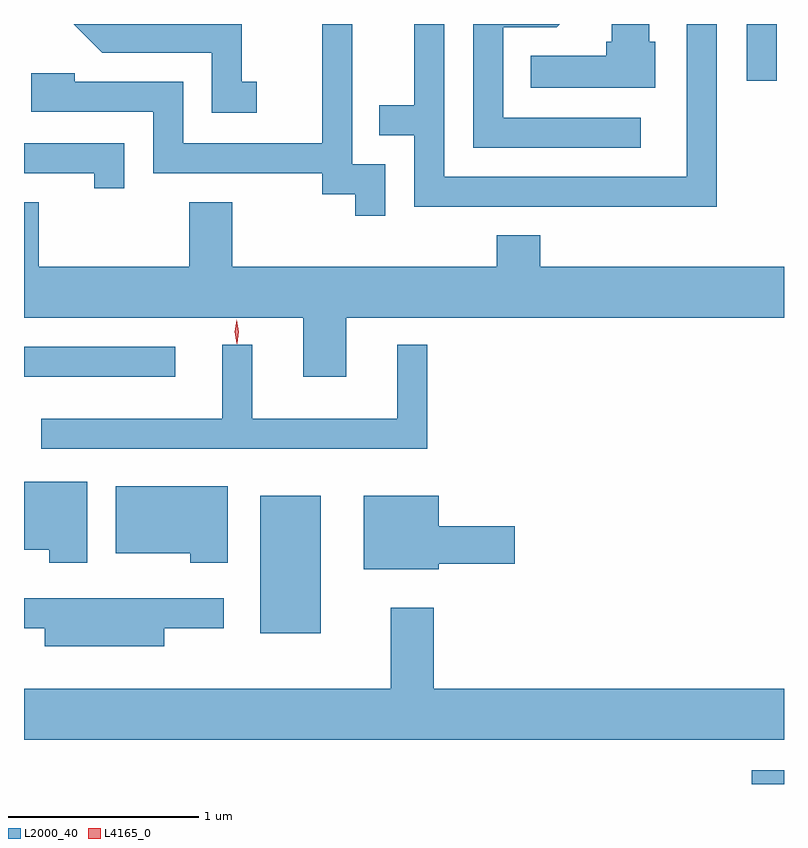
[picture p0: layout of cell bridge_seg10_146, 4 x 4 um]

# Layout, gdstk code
import gdstk
lib = gdstk.Library(unit=1e-6, precision=1e-09)
def R(c, l, rs):  # rectangles x0, y0, x1, y1
    for r in rs: c.add(gdstk.rectangle(r[:2], r[2:], *l))
def P(c, l, *ps):  # polygons
    for p in ps: c.add(gdstk.Polygon(p, *l))
L2000_40 = (2000, 40)
L4165_0 = (4165, 0)

bridge_seg10_146 = lib.new_cell('bridge_seg10_146')
R(bridge_seg10_146, L2000_40, [(1542.111,2142.542,1542.282,2142.614), (1539.526,2143.336,1539.844,2144.059), (1538.282,2144.686,1539.078,2144.844), (1542.086,2146.243,1542.244,2146.542)])
P(bridge_seg10_146, L2000_40, [(1541.528,2146.049),(1540.804,2146.049),(1540.804,2146.526),(1541.087,2146.526),(1541.103,2146.542),(1540.646,2146.542),(1540.646,2145.891),(1541.528,2145.891)],
  [(1541.604,2146.449),(1541.574,2146.449),(1541.574,2146.542),(1541.376,2146.542),(1541.376,2146.449),(1541.346,2146.449),(1541.346,2146.374),(1540.948,2146.374),(1540.948,2146.206),(1541.604,2146.206)],
  [(1539.508,2146.239),(1539.429,2146.239),(1539.429,2146.542),(1538.543,2146.542),(1538.694,2146.391),(1539.271,2146.391),(1539.271,2146.076),(1539.508,2146.076)],
  [(1541.929,2146.542),(1541.771,2146.542),(1541.771,2145.739),(1540.494,2145.739),(1540.494,2146.542),(1540.336,2146.542),(1540.336,2146.114),(1540.153,2146.114),(1540.153,2145.956),(1540.336,2145.956),(1540.336,2145.581),(1541.929,2145.581)],
  [(1540.184,2145.804),(1540.009,2145.804),(1540.009,2146.542),(1539.851,2146.542),(1539.851,2145.914),(1539.119,2145.914),(1539.119,2146.239),(1538.549,2146.239),(1538.549,2146.284),(1538.321,2146.284),(1538.321,2146.081),(1538.961,2146.081),(1538.961,2145.756),(1539.851,2145.756),(1539.851,2145.646),(1540.026,2145.646),(1540.026,2145.533),(1540.184,2145.533)],
  [(1538.809,2145.914),(1538.282,2145.914),(1538.282,2145.756),(1538.651,2145.756),(1538.651,2145.678),(1538.809,2145.678)],
  [(1539.979,2144.996),(1542.282,2144.996),(1542.282,2145.264),(1540.999,2145.264),(1540.999,2145.429),(1540.771,2145.429),(1540.771,2145.264),(1539.379,2145.264),(1539.379,2145.604),(1539.151,2145.604),(1539.151,2145.264),(1538.359,2145.264),(1538.359,2145.604),(1538.282,2145.604),(1538.282,2144.996),(1539.751,2144.996),(1539.751,2144.686),(1539.979,2144.686)],
  [(1540.404,2144.853),(1540.246,2144.853),(1540.246,2144.464),(1539.484,2144.464),(1539.484,2144.853),(1539.326,2144.853),(1539.326,2144.464),(1538.373,2144.464),(1538.373,2144.306),(1540.404,2144.306)],
  [(1538.614,2144.134),(1538.282,2144.134),(1538.282,2143.776),(1538.416,2143.776),(1538.416,2143.706),(1538.614,2143.706)],
  [(1539.354,2144.109),(1538.766,2144.109),(1538.766,2143.756),(1539.156,2143.756),(1539.156,2143.706),(1539.354,2143.706)],
  [(1540.464,2143.701),(1540.864,2143.701),(1540.864,2143.899),(1540.464,2143.899),(1540.464,2144.059),(1540.071,2144.059),(1540.071,2143.671),(1540.464,2143.671)],
  [(1539.019,2143.361),(1539.333,2143.361),(1539.333,2143.519),(1538.282,2143.519),(1538.282,2143.361),(1538.391,2143.361),(1538.391,2143.266),(1539.019,2143.266)],
  [(1542.282,2143.044),(1540.439,2143.044),(1540.439,2143.469),(1540.211,2143.469),(1540.211,2143.044),(1538.282,2143.044),(1538.282,2142.776),(1542.282,2142.776)])
P(bridge_seg10_146, L4165_0, [(1539.403,2144.858),(1539.403,2144.859),(1539.392,2144.922),(1539.401,2144.986),(1539.401,2144.986),(1539.402,2144.986),(1539.412,2144.922),(1539.404,2144.859)])

lib.write_gds('bridge_seg10_146.gds')
